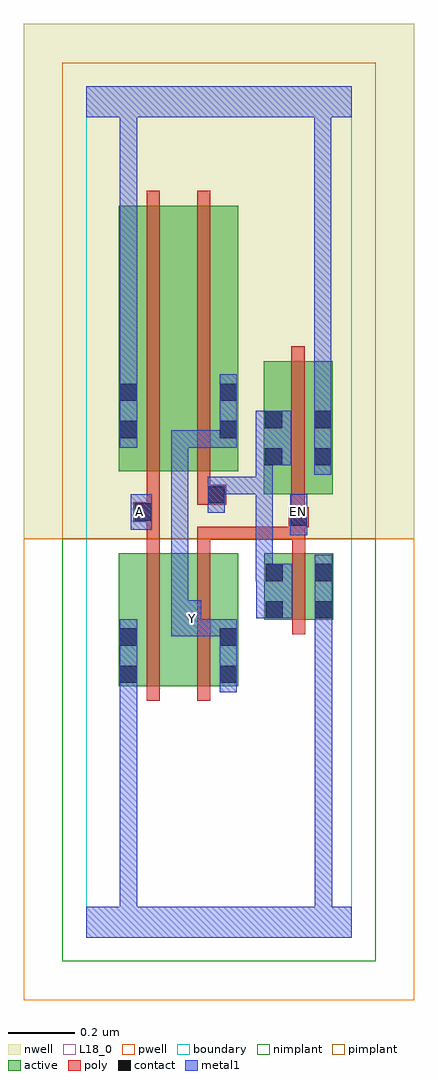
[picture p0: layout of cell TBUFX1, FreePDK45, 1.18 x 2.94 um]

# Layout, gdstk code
import gdstk
lib = gdstk.Library(unit=1e-6, precision=1e-09)
def R(c, l, rs):  # rectangles x0, y0, x1, y1
    for r in rs: c.add(gdstk.rectangle(r[:2], r[2:], *l))
active = (1, 0)
pwell = (2, 0)
nwell = (3, 0)
nimplant = (4, 0)
pimplant = (5, 0)
poly = (9, 0)
contact = (10, 0)
metal1 = (11, 0)
L18_0 = (18, 0)
boundary = (235, 0)

tbufx1 = lib.new_cell('TBUFX1')
R(tbufx1, active, [(0.098,0.756,0.158,1.156), (0.098,0.756,0.278,1.156), (0.278,0.756,0.458,1.156), (0.398,0.756,0.458,1.156), (0.536,0.956,0.596,1.156), (0.536,0.956,0.744,1.156), (0.684,0.956,0.744,1.156), (0.534,1.334,0.594,1.734), (0.534,1.334,0.742,1.734), (0.682,1.334,0.742,1.734), (0.098,1.402,0.278,2.202), (0.098,1.402,0.158,2.202), (0.278,1.402,0.458,2.202), (0.398,1.402,0.458,2.044)])
R(tbufx1, pwell, [(-0.188,-0.188,0.988,1.2)])
R(tbufx1, nwell, [(-0.188,1.2,0.988,2.748)])
R(tbufx1, nimplant, [(-0.072,-0.072,0.872,1.2)])
R(tbufx1, pimplant, [(-0.072,1.2,0.872,2.632)])
R(tbufx1, poly, [(0.182,0.712,0.222,1.2), (0.334,0.712,0.374,1.2), (0.62,0.912,0.66,1.2), (0.182,1.16,0.222,1.29), (0.334,1.16,0.374,1.236), (0.62,1.16,0.66,1.236), (0.334,1.196,0.374,1.236), (0.334,1.196,0.374,1.236), (0.334,1.196,0.374,1.236), (0.334,1.196,0.66,1.236), (0.62,1.196,0.66,1.274), (0.62,1.196,0.66,1.236), (0.62,1.196,0.66,1.236), (0.62,1.196,0.66,1.236), (0.61,1.234,0.67,1.294), (0.142,1.25,0.222,1.31), (0.182,1.25,0.222,1.29), (0.182,1.25,0.222,1.29), (0.618,1.254,0.658,1.33), (0.182,1.27,0.222,1.398), (0.618,1.29,0.658,1.778), (0.334,1.302,0.422,1.362), (0.334,1.322,0.374,1.398), (0.182,1.358,0.222,2.246), (0.334,1.358,0.374,2.246)])
R(tbufx1, contact, [(0.102,0.766,0.154,0.818), (0.402,0.766,0.454,0.818), (0.102,0.878,0.154,0.93), (0.402,0.878,0.454,0.93), (0.54,0.96,0.592,1.012), (0.688,0.96,0.74,1.012), (0.54,1.072,0.592,1.124), (0.688,1.072,0.74,1.124), (0.614,1.238,0.666,1.29), (0.146,1.254,0.198,1.306), (0.366,1.306,0.418,1.358), (0.538,1.42,0.59,1.472), (0.686,1.42,0.738,1.472), (0.102,1.502,0.154,1.554), (0.402,1.502,0.454,1.554), (0.538,1.532,0.59,1.584), (0.686,1.532,0.738,1.584), (0.102,1.614,0.154,1.666), (0.402,1.614,0.454,1.666)])
R(tbufx1, metal1, [(0,0,0.8,0.092), (0.102,0.04,0.154,0.092), (0.102,0.04,0.154,0.092), (0.102,0.04,0.154,0.092), (0.102,0.04,0.154,0.092), (0.102,0.04,0.154,0.092), (0.102,0.04,0.154,0.092), (0.102,0.04,0.154,0.092), (0.102,0.04,0.154,0.092), (0.102,0.04,0.154,0.092), (0.102,0.04,0.154,0.092), (0.102,0.04,0.154,0.79), (0.688,0.04,0.74,0.092), (0.688,0.04,0.74,0.092), (0.688,0.04,0.74,0.092), (0.688,0.04,0.74,0.092), (0.688,0.04,0.74,0.092), (0.688,0.04,0.74,0.092), (0.688,0.04,0.74,0.092), (0.688,0.04,0.74,0.092), (0.688,0.04,0.74,0.092), (0.688,0.04,0.74,0.092), (0.688,0.04,0.74,0.092), (0.688,0.04,0.74,0.092), (0.688,0.04,0.74,0.984), (0.102,0.738,0.154,0.79), (0.102,0.738,0.154,0.79), (0.102,0.738,0.154,0.958), (0.402,0.738,0.454,0.958), (0.256,0.906,0.346,1.014), (0.294,0.906,0.346,0.958), (0.294,0.906,0.346,0.958), (0.294,0.906,0.454,0.958), (0.402,0.906,0.454,0.958), (0.402,0.906,0.454,0.958), (0.688,0.932,0.74,0.984), (0.688,0.932,0.74,0.984), (0.688,0.932,0.74,0.984), (0.688,0.932,0.74,0.984), (0.688,0.932,0.74,1.152), (0.512,0.96,0.62,1.124), (0.256,0.962,0.308,1.526), (0.51,1.072,0.562,1.386), (0.51,1.072,0.564,1.124), (0.512,1.072,0.564,1.124), (0.614,1.21,0.666,1.334), (0.134,1.226,0.198,1.334), (0.366,1.278,0.418,1.386), (0.366,1.334,0.556,1.386), (0.504,1.334,0.556,1.386), (0.504,1.334,0.562,1.386), (0.51,1.334,0.562,1.386), (0.51,1.334,0.562,1.472), (0.686,1.392,0.738,1.612), (0.51,1.42,0.618,1.584), (0.102,1.474,0.154,1.694), (0.256,1.474,0.308,1.526), (0.256,1.474,0.308,1.526), (0.256,1.474,0.308,1.526), (0.256,1.474,0.308,1.526), (0.256,1.474,0.308,1.526), (0.256,1.474,0.454,1.526), (0.402,1.474,0.454,1.694), (0.686,1.56,0.738,1.612), (0.686,1.56,0.738,1.612), (0.686,1.56,0.738,1.612), (0.686,1.56,0.738,1.612), (0.686,1.56,0.738,1.612), (0.686,1.56,0.738,1.612), (0.686,1.56,0.738,1.612), (0.686,1.56,0.738,1.612), (0.686,1.56,0.738,1.612), (0.686,1.56,0.738,1.612), (0.686,1.56,0.738,1.612), (0.686,1.56,0.738,1.612), (0.686,1.56,0.738,2.52), (0.102,1.642,0.154,1.694), (0.102,1.642,0.154,1.694), (0.102,1.642,0.154,1.694), (0.102,1.642,0.154,1.694), (0.102,1.642,0.154,2.52), (0,2.468,0.8,2.56), (0.102,2.468,0.154,2.52), (0.102,2.468,0.154,2.52), (0.102,2.468,0.154,2.52), (0.102,2.468,0.154,2.52), (0.686,2.468,0.738,2.52), (0.686,2.468,0.738,2.52), (0.686,2.468,0.738,2.52), (0.686,2.468,0.738,2.52)])
R(tbufx1, L18_0, [(0,0,0.8,0.092), (0.102,0.04,0.154,0.092), (0.102,0.04,0.154,0.092), (0.102,0.04,0.154,0.092), (0.102,0.04,0.154,0.092), (0.102,0.04,0.154,0.092), (0.102,0.04,0.154,0.092), (0.102,0.04,0.154,0.092), (0.102,0.04,0.154,0.092), (0.102,0.04,0.154,0.092), (0.102,0.04,0.154,0.092), (0.102,0.04,0.154,0.79), (0.688,0.04,0.74,0.092), (0.688,0.04,0.74,0.092), (0.688,0.04,0.74,0.092), (0.688,0.04,0.74,0.092), (0.688,0.04,0.74,0.092), (0.688,0.04,0.74,0.092), (0.688,0.04,0.74,0.092), (0.688,0.04,0.74,0.092), (0.688,0.04,0.74,0.092), (0.688,0.04,0.74,0.092), (0.688,0.04,0.74,0.092), (0.688,0.04,0.74,0.092), (0.688,0.04,0.74,0.984), (0.102,0.738,0.154,0.79), (0.102,0.738,0.154,0.79), (0.102,0.738,0.154,0.958), (0.402,0.738,0.454,0.958), (0.256,0.906,0.346,1.014), (0.294,0.906,0.346,0.958), (0.294,0.906,0.346,0.958), (0.294,0.906,0.454,0.958), (0.402,0.906,0.454,0.958), (0.402,0.906,0.454,0.958), (0.688,0.932,0.74,0.984), (0.688,0.932,0.74,0.984), (0.688,0.932,0.74,0.984), (0.688,0.932,0.74,0.984), (0.688,0.932,0.74,1.152), (0.294,0.934,0.346,0.986), (0.256,0.962,0.308,1.526), (0.614,1.21,0.666,1.334), (0.134,1.226,0.198,1.334), (0.134,1.254,0.186,1.306), (0.614,1.254,0.666,1.306), (0.686,1.392,0.738,1.612), (0.102,1.474,0.154,1.694), (0.256,1.474,0.308,1.526), (0.256,1.474,0.308,1.526), (0.256,1.474,0.308,1.526), (0.256,1.474,0.308,1.526), (0.256,1.474,0.308,1.526), (0.256,1.474,0.454,1.526), (0.402,1.474,0.454,1.694), (0.686,1.56,0.738,1.612), (0.686,1.56,0.738,1.612), (0.686,1.56,0.738,1.612), (0.686,1.56,0.738,1.612), (0.686,1.56,0.738,1.612), (0.686,1.56,0.738,1.612), (0.686,1.56,0.738,1.612), (0.686,1.56,0.738,1.612), (0.686,1.56,0.738,1.612), (0.686,1.56,0.738,1.612), (0.686,1.56,0.738,1.612), (0.686,1.56,0.738,1.612), (0.686,1.56,0.738,2.52), (0.102,1.642,0.154,1.694), (0.102,1.642,0.154,1.694), (0.102,1.642,0.154,1.694), (0.102,1.642,0.154,1.694), (0.102,1.642,0.154,2.52), (0,2.468,0.8,2.56), (0.102,2.468,0.154,2.52), (0.102,2.468,0.154,2.52), (0.102,2.468,0.154,2.52), (0.102,2.468,0.154,2.52), (0.686,2.468,0.738,2.52), (0.686,2.468,0.738,2.52), (0.686,2.468,0.738,2.52), (0.686,2.468,0.738,2.52)])
R(tbufx1, boundary, [(0,0,0.8,2.56)])
tbufx1.add(gdstk.Label('A', (0.16,1.28), layer=11, texttype=0))
tbufx1.add(gdstk.Label('EN', (0.64,1.28), layer=11, texttype=0))
tbufx1.add(gdstk.Label('Y', (0.32,0.96), layer=11, texttype=0))

lib.write_gds('TBUFX1.gds')
